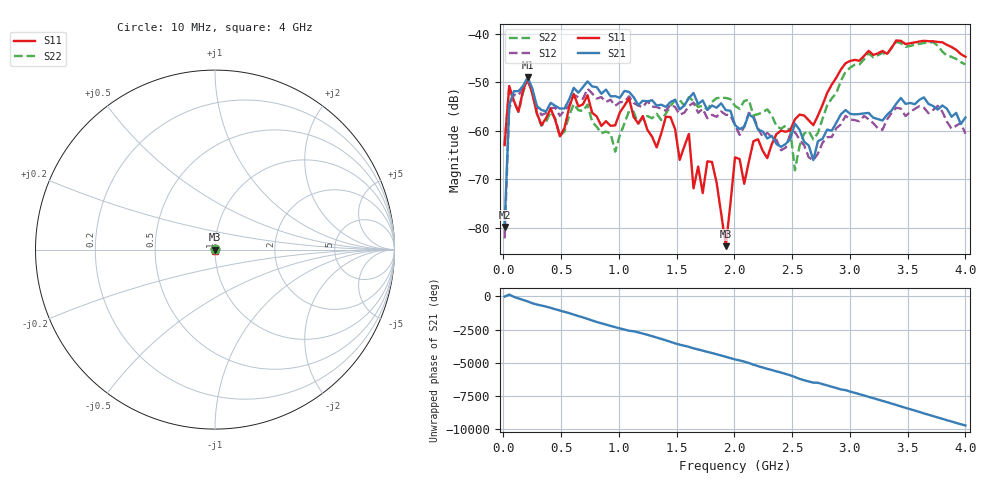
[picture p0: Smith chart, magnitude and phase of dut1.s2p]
! PocketVna 1.81  pocketvna.com
! Live measurements ((Reflection-S11, Transmission-S21, Transmission-S12, Reflection-S22) Linear 10000000-4000000000/101 non-calibrated)
# GHz S MA R 50
! GHz  |S11|  <S11  |S21|  <S21  |S12|  <S12  |S22|  <S22
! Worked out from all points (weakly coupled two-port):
!   101 points, 10 MHz to 4 GHz, reference 50 ohm
!   highest |S21| = -49.01 dB at 209.5 MHz (marker M1); lowest = -79.8 dB at 10 MHz (marker M2)
!   lowest |S11| = -83.7 dB at 1.925 GHz (marker M3), VSWR 1.00, Z = 50 - j0.000254 ohm
!   |S11| at or under -10 dB: start of sweep to end of sweep
!   |S22| runs from -68.1 to -41.7 dB; largest |S21 - S12| = 0.0044
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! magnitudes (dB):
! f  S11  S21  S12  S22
! 10 MHz  -62.9  -79.8  -82.1  -63.0
! 49.9 MHz  -50.8  -54.8  -55.5  -51.1
! 129.7 MHz  -56.1  -51.8  -52.7  -56.1
! 209.5 MHz  -49.2  -49.0  -49.7  -49.1
! 488.8 MHz  -61.1  -55.4  -56.9  -61.0
! 688.3 MHz  -54.6  -51.0  -53.4  -55.9
! 967.6 MHz  -58.9  -52.9  -54.8  -64.3
! 1.087 GHz  -53.3  -52.0  -52.9  -55.9
! 1.367 GHz  -60.5  -54.6  -55.5  -57.8
! 1.606 GHz  -60.6  -53.2  -54.9  -53.1
! 1.646 GHz  -71.8  -52.2  -54.2  -53.9
! 1.806 GHz  -66.4  -54.8  -56.7  -54.1
! 1.925 GHz  -83.7  -55.7  -56.7  -53.2
! 2.005 GHz  -65.4  -58.8  -58.8  -54.9
! 2.085 GHz  -70.9  -59.2  -59.1  -53.8
! 2.165 GHz  -62.1  -57.3  -57.0  -56.8
! 2.444 GHz  -60.2  -62.7  -63.5  -58.9
! 2.524 GHz  -57.6  -58.5  -60.2  -68.1
! 2.683 GHz  -58.8  -66.0  -66.0  -61.8
! 2.963 GHz  -46.1  -55.7  -56.9  -47.8
! 3.362 GHz  -42.9  -55.8  -56.3  -42.8
! 4 GHz  -44.8  -57.3  -60.6  -46.3
